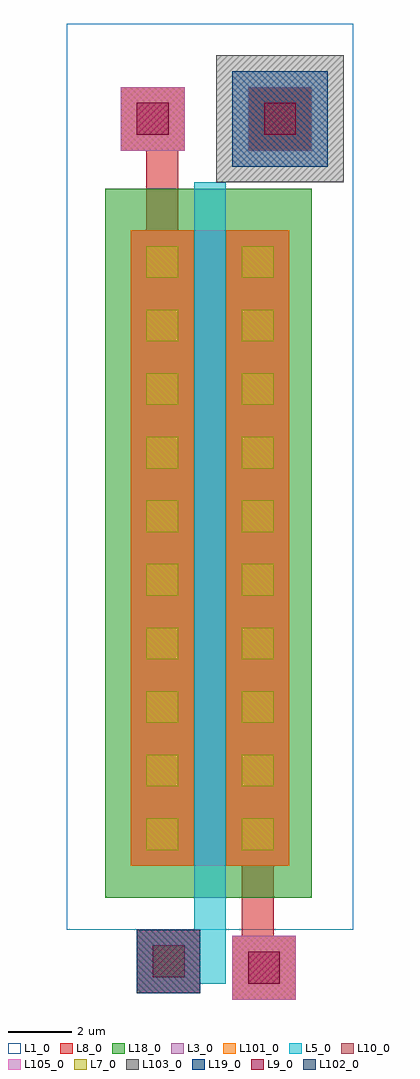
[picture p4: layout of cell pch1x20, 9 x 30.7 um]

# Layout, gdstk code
import gdstk
lib = gdstk.Library(unit=1e-6, precision=1e-09)
def R(c, l, rs):  # rectangles x0, y0, x1, y1
    for r in rs: c.add(gdstk.rectangle(r[:2], r[2:], *l))
L1_0 = (1, 0)
L3_0 = (3, 0)
L5_0 = (5, 0)
L7_0 = (7, 0)
L8_0 = (8, 0)
L9_0 = (9, 0)
L10_0 = (10, 0)
L18_0 = (18, 0)
L19_0 = (19, 0)
L101_0 = (101, 0)
L102_0 = (102, 0)
L103_0 = (103, 0)
L105_0 = (105, 0)

dcont = lib.new_cell('dcont')
R(dcont, L3_0, [(-0.5,-0.5,0.5,0.5)])
R(dcont, L7_0, [(-0.5,-0.5,0.5,0.5)])
R(dcont, L8_0, [(-1,-1,1,1)])
R(dcont, L101_0, [(-1,-1,1,1)])
dcont.add(gdstk.Label('dcont', (0,0), layer=13, texttype=0))

via = lib.new_cell('Via')
R(via, L8_0, [(-1,-1,1,1)])
R(via, L9_0, [(-0.5,-0.5,0.5,0.5)])
R(via, L10_0, [(-1,-1,1,1)])
R(via, L105_0, [(-1,-1,1,1)])
via.add(gdstk.Label('via', (0,0), layer=13, texttype=0))

nsubcont = lib.new_cell('nsubcont')
R(nsubcont, L1_0, [(-2,-2,2,2)])
R(nsubcont, L19_0, [(-1.5,-1.5,1.5,1.5)])
R(nsubcont, L103_0, [(-2,-2,2,2)])
nsubcont.add(gdstk.Reference(dcont, (0,0)))
nsubcont.add(gdstk.Label('NScont', (0,0), layer=13, texttype=0))

pcont = lib.new_cell('pcont')
R(pcont, L5_0, [(-1,-1,1,1)])
R(pcont, L7_0, [(-0.5,-0.5,0.5,0.5)])
R(pcont, L8_0, [(-1,-1,1,1)])
R(pcont, L102_0, [(-1,-1,1,1)])
pcont.add(gdstk.Label('pcont', (0,0), layer=13, texttype=0))

pch1x20 = lib.new_cell('pch1x20')
R(pch1x20, L1_0, [(-1.2,3,7.8,31.5)])
R(pch1x20, L3_0, [(0.8,5,5.8,25)])
R(pch1x20, L5_0, [(1.3,1.3,3.8,2.7)])
R(pch1x20, L8_0, [(4,0.8,6,2.8), (1,1,3,3)])
R(pch1x20, L10_0, [(4,0.8,6,2.8), (1,1,3,3)])
R(pch1x20, L18_0, [(0,4,6.5,26.3)])
R(pch1x20, L105_0, [(4,0.8,6,2.8), (1,1,3,3)])
pch1x20.add(gdstk.FlexPath([(3.3,26),(3.3,2.8)], 1, ends="extended", simple_path=True, layer=5, datatype=0))  # L5_0
pch1x20.add(gdstk.FlexPath([(4.8,5.5),(4.8,2.3)], 1, ends="extended", simple_path=True, layer=8, datatype=0))  # L8_0
pch1x20.add(gdstk.FlexPath([(4.8,5.8),(4.8,24)], 1.4, ends="extended", simple_path=True, layer=8, datatype=0))  # L8_0
pch1x20.add(gdstk.FlexPath([(1.8,5.8),(1.8,24)], 1.4, ends="extended", simple_path=True, layer=8, datatype=0))  # L8_0
pch1x20.add(gdstk.FlexPath([(1.8,29),(1.8,23.8)], 1, ends="extended", simple_path=True, layer=8, datatype=0))  # L8_0
pch1x20.add(gdstk.Reference(dcont, (4.8,6)))
pch1x20.add(gdstk.Reference(via, (5.5,28.5)))
pch1x20.add(gdstk.Reference(dcont, (1.8,12)))
pch1x20.add(gdstk.Reference(via, (5,1.8)))
pch1x20.add(gdstk.Reference(dcont, (4.8,22)))
pch1x20.add(gdstk.Reference(dcont, (4.8,24)))
pch1x20.add(gdstk.Reference(dcont, (4.8,8)))
pch1x20.add(gdstk.Reference(dcont, (1.8,24)))
pch1x20.add(gdstk.Reference(dcont, (1.8,10)))
pch1x20.add(gdstk.Reference(dcont, (1.8,18)))
pch1x20.add(gdstk.Reference(dcont, (4.8,16)))
pch1x20.add(gdstk.Reference(dcont, (1.8,22)))
pch1x20.add(gdstk.Reference(dcont, (1.8,8)))
pch1x20.add(gdstk.Reference(via, (1.5,28.5)))
pch1x20.add(gdstk.Reference(dcont, (1.8,14)))
pch1x20.add(gdstk.Reference(dcont, (4.8,20)))
pch1x20.add(gdstk.Reference(dcont, (1.8,6)))
pch1x20.add(gdstk.Reference(dcont, (4.8,18)))
pch1x20.add(gdstk.Reference(via, (2,2)))
pch1x20.add(gdstk.Reference(dcont, (4.8,12)))
pch1x20.add(gdstk.Reference(dcont, (1.8,20)))
pch1x20.add(gdstk.Reference(dcont, (4.8,10)))
pch1x20.add(gdstk.Reference(nsubcont, (5.5,28.5)))
pch1x20.add(gdstk.Reference(dcont, (1.8,16)))
pch1x20.add(gdstk.Reference(pcont, (2,2)))
pch1x20.add(gdstk.Reference(dcont, (4.8,14)))

lib.write_gds('pch1x20.gds')
